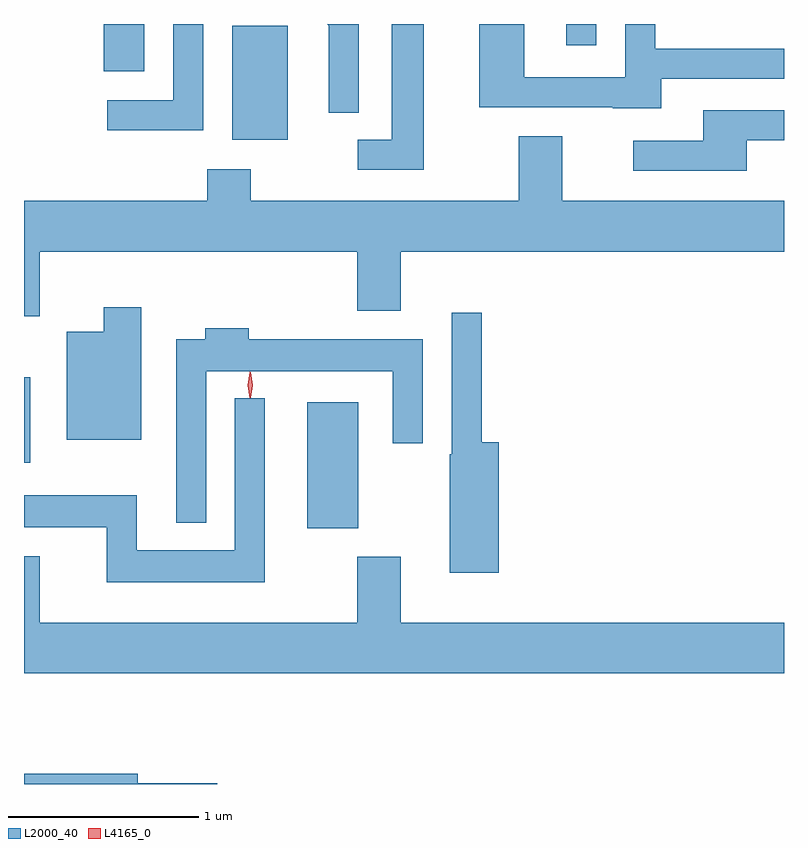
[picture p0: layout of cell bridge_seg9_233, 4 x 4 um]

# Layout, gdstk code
import gdstk
lib = gdstk.Library(unit=1e-6, precision=1e-09)
def R(c, l, rs):  # rectangles x0, y0, x1, y1
    for r in rs: c.add(gdstk.rectangle(r[:2], r[2:], *l))
def P(c, l, *ps):  # polygons
    for p in ps: c.add(gdstk.Polygon(p, *l))
L2000_40 = (2000, 40)
L4165_0 = (4165, 0)

bridge_seg9_233 = lib.new_cell('bridge_seg9_233')
R(bridge_seg9_233, L2000_40, [(1477.326,1945.961,1477.594,1946.624), (1475.836,1946.306,1475.869,1946.754), (1476.931,1948.006,1477.224,1948.604), (1476.256,1948.366,1476.469,1948.614), (1478.691,1948.503,1478.849,1948.614)])
P(bridge_seg9_233, L2000_40, [(1479.189,1948.326),(1479.836,1948.326),(1479.836,1948.484),(1479.159,1948.484),(1479.159,1948.614),(1479.001,1948.614),(1479.001,1948.334),(1478.469,1948.334),(1478.469,1948.614),(1478.231,1948.614),(1478.231,1948.176),(1478.935,1948.176),(1478.935,1948.171),(1479.189,1948.171)],
  [(1477.599,1948.614),(1477.431,1948.614),(1477.441,1948.604),(1477.441,1948.148),(1477.599,1948.148)],
  [(1476.779,1948.614),(1476.621,1948.614),(1476.621,1948.214),(1476.273,1948.214),(1476.273,1948.056),(1476.779,1948.056)],
  [(1477.939,1948.614),(1477.771,1948.614),(1477.771,1948.004),(1477.593,1948.004),(1477.593,1947.846),(1477.939,1947.846)],
  [(1479.639,1948.001),(1479.836,1948.001),(1479.836,1948.159),(1479.411,1948.159),(1479.411,1947.999),(1479.043,1947.999),(1479.043,1947.841),(1479.639,1947.841)],
  [(1475.919,1947.416),(1477.591,1947.416),(1477.591,1947.106),(1477.819,1947.106),(1477.819,1947.416),(1479.836,1947.416),(1479.836,1947.684),(1478.669,1947.684),(1478.669,1948.024),(1478.441,1948.024),(1478.441,1947.684),(1477.029,1947.684),(1477.029,1947.849),(1476.801,1947.849),(1476.801,1947.684),(1475.836,1947.684),(1475.836,1947.076),(1475.919,1947.076)],
  [(1476.454,1947.124),(1476.256,1947.124),(1476.256,1946.994),(1476.061,1946.994),(1476.061,1946.426),(1476.454,1946.426)],
  [(1478.334,1946.414),(1478.244,1946.414),(1478.244,1947.093),(1478.086,1947.093),(1478.086,1946.35),(1478.076,1946.35),(1478.076,1945.726),(1478.334,1945.726)],
  [(1476.794,1946.786),(1477.776,1946.786),(1477.776,1946.408),(1477.934,1946.408),(1477.934,1946.954),(1477.019,1946.954),(1477.019,1947.014),(1476.791,1947.014),(1476.791,1946.954),(1476.636,1946.954),(1476.636,1945.988),(1476.794,1945.988)],
  [(1477.104,1946.643),(1476.946,1946.643),(1476.946,1945.844),(1476.429,1945.844),(1476.429,1946.134),(1475.836,1946.134),(1475.836,1945.966),(1476.271,1945.966),(1476.271,1945.676),(1477.104,1945.676)],
  [(1479.836,1945.464),(1477.819,1945.464),(1477.819,1945.809),(1477.591,1945.809),(1477.591,1945.464),(1475.919,1945.464),(1475.919,1945.814),(1475.836,1945.814),(1475.836,1945.196),(1479.836,1945.196)],
  [(1476.854,1944.619),(1476.434,1944.619),(1476.434,1944.669),(1475.836,1944.669),(1475.836,1944.614),(1476.854,1944.614)])
P(bridge_seg9_233, L4165_0, [(1477.024,1946.645),(1477.024,1946.645),(1477.014,1946.714),(1477.024,1946.782),(1477.024,1946.783),(1477.025,1946.782),(1477.034,1946.714),(1477.025,1946.645)],
  [(1477.028,1946.648),(1477.019,1946.714),(1477.028,1946.78),(1477.029,1946.78),(1477.029,1946.78),(1477.039,1946.714),(1477.029,1946.648),(1477.029,1946.648)])

lib.write_gds('bridge_seg9_233.gds')
